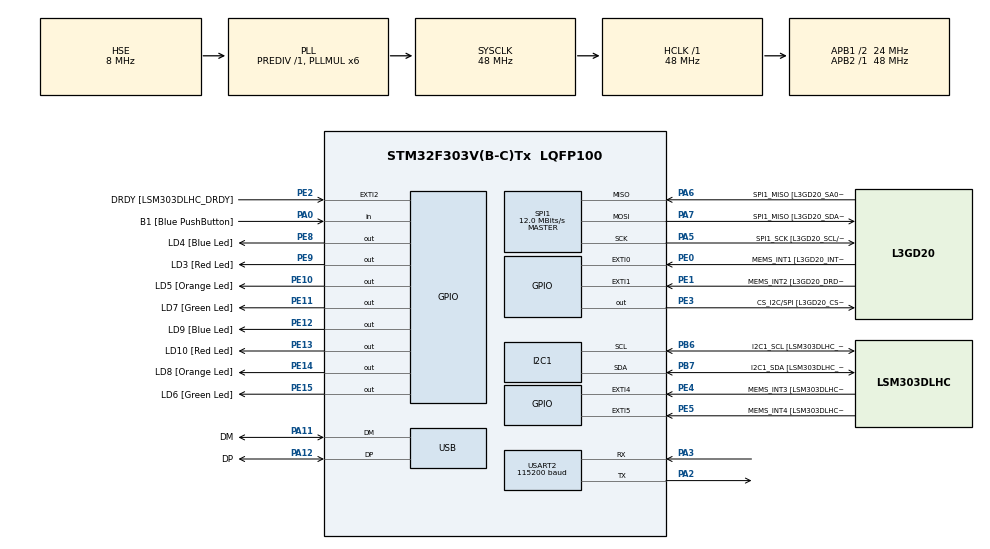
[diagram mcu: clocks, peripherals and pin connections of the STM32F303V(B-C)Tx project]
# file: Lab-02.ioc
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I2C1.Timing=0x00201D2B
I2C1.Timing-I2C=0x2000090E
Mcu.Family=STM32F3
Mcu.Name=STM32F303V(B-C)Tx
Mcu.Package=LQFP100
NVIC.PriorityGroup=NVIC_PRIORITYGROUP_0
PA0.GPIO_Label=B1 [Blue PushButton]
PA0.Signal=GPIO_Input
PA11.GPIO_Label=DM
PA11.Mode=Device
PA11.Signal=USB_DM
PA12.GPIO_Label=DP
PA12.Mode=Device
PA12.Signal=USB_DP
PA13.GPIO_Label=SWDIO
PA13.Mode=Serial_Wire
PA13.Signal=SYS_JTMS-SWDIO
PA14.GPIO_Label=SWCLK
PA14.Mode=Serial_Wire
PA14.Signal=SYS_JTCK-SWCLK
PA2.Mode=Asynchronous
PA2.Signal=USART2_TX
PA3.Mode=Asynchronous
PA3.Signal=USART2_RX
PA5.GPIO_Label=SPI1_SCK [L3GD20_SCL/SPC]
PA5.Mode=Full_Duplex_Master
PA5.Signal=SPI1_SCK
PA6.GPIO_Label=SPI1_MISO [L3GD20_SA0/SDO]
PA6.Mode=Full_Duplex_Master
PA6.Signal=SPI1_MISO
PA7.GPIO_Label=SPI1_MISO [L3GD20_SDA/SDI/SDO]
PA7.Mode=Full_Duplex_Master
PA7.Signal=SPI1_MOSI
PB3.GPIO_Label=SWO
PB3.Signal=SYS_JTDO-TRACESWO
PB6.GPIO_Label=I2C1_SCL [LSM303DLHC_SCL]
PB6.GPIO_Pu=GPIO_PULLUP
PB6.Mode=I2C
PB6.Signal=I2C1_SCL
PB7.GPIO_Label=I2C1_SDA [LSM303DLHC_SDA]
PB7.GPIO_Pu=GPIO_PULLUP
PB7.Mode=I2C
PB7.Signal=I2C1_SDA
PC14-OSC32_IN.GPIO_Label=OSC32_IN
PC14-OSC32_IN.Signal=RCC_OSC32_IN
PC15-OSC32_OUT.GPIO_Label=OSC32_OUT
PC15-OSC32_OUT.Signal=RCC_OSC32_OUT
PE0.GPIO_Label=MEMS_INT1 [L3GD20_INT1]
PE0.GPIO_ModeDefaultEXTI=GPIO_MODE_EVT_RISING
PE0.Signal=GPXTI0
PE1.GPIO_Label=MEMS_INT2 [L3GD20_DRDY/INT2]
PE1.GPIO_ModeDefaultEXTI=GPIO_MODE_EVT_RISING
PE1.Signal=GPXTI1
PE10.GPIO_Label=LD5 [Orange Led]
PE10.Signal=GPIO_Output
PE11.GPIO_Label=LD7 [Green Led]
PE11.Signal=GPIO_Output
PE12.GPIO_Label=LD9 [Blue Led]
PE12.Signal=GPIO_Output
PE13.GPIO_Label=LD10 [Red Led]
PE13.Signal=GPIO_Output
PE14.GPIO_Label=LD8 [Orange Led]
PE14.Signal=GPIO_Output
PE15.GPIO_Label=LD6 [Green Led]
PE15.Signal=GPIO_Output
PE2.GPIO_Label=DRDY [LSM303DLHC_DRDY]
PE2.GPIO_ModeDefaultEXTI=GPIO_MODE_EVT_RISING
PE2.Signal=GPXTI2
PE3.GPIO_Label=CS_I2C/SPI [L3GD20_CS_I2C/SPI]
PE3.Signal=GPIO_Output
PE4.GPIO_Label=MEMS_INT3 [LSM303DLHC_INT1]
PE4.GPIO_ModeDefaultEXTI=GPIO_MODE_EVT_RISING
PE4.Signal=GPXTI4
PE5.GPIO_Label=MEMS_INT4 [LSM303DLHC_INT2]
PE5.GPIO_ModeDefaultEXTI=GPIO_MODE_EVT_RISING
PE5.Signal=GPXTI5
PE8.GPIO_Label=LD4 [Blue Led]
PE8.Signal=GPIO_Output
PE9.GPIO_Label=LD3 [Red Led]
PE9.Signal=GPIO_Output
PF0-OSC_IN.GPIO_Label=OSC_IN
PF0-OSC_IN.Mode=HSE-External-Clock-Source
PF0-OSC_IN.Signal=RCC_OSC_IN
PF1-OSC_OUT.GPIO_Label=OSC_OUT
PF1-OSC_OUT.Signal=RCC_OSC_OUT
ProjectManager.HeapSize=0x200
ProjectManager.StackSize=0x400
ProjectManager.TargetToolchain=CMake
RCC.AHBFreq_Value=48000000
RCC.APB1CLKDivider=RCC_HCLK_DIV2
RCC.APB1Freq_Value=24000000
RCC.APB1TimFreq_Value=48000000
RCC.APB2Freq_Value=48000000
RCC.APB2TimFreq_Value=48000000
RCC.CortexFreq_Value=48000000
RCC.HCLKFreq_Value=48000000
RCC.HSE_VALUE=8000000
RCC.HSI_VALUE=8000000
RCC.LSE_VALUE=32768
RCC.PLLMUL=RCC_PLL_MUL6
RCC.SYSCLKFreq_VALUE=48000000
RCC.SYSCLKSourceVirtual=RCC_SYSCLKSOURCE_PLLCLK
RCC.USBFreq_Value=48000000
SPI1.BaudRatePrescaler=SPI_BAUDRATEPRESCALER_4
SPI1.BaudRatePrescaler-Full_Duplex_Master=SPI_BAUDRATEPRESCALER_2
SPI1.CalculateBaudRate=12.0 MBits/s
SPI1.CalculateBaudRate-Full_Duplex_Master=24.0 MBits/s
SPI1.Direction=SPI_DIRECTION_2LINES
SPI1.Mode=SPI_MODE_MASTER
SPI1.Mode-Full_Duplex_Master=SPI_MODE_MASTER
SPI1.VirtualType=VM_MASTER
USART2.BaudRate=115200
USART2.VirtualMode-Asynchronous=VM_ASYNC
board=STM32F3DISCOVERY

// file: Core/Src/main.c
/* USER CODE BEGIN Header */
/**
  ******************************************************************************
  * @file           : main.c
  * @brief          : Main program body
  ******************************************************************************
  * @attention
  *
  * Copyright (c) 2026 STMicroelectronics.
  * All rights reserved.
  *
  * This software is licensed under terms that can be found in the LICENSE file
  * in the root directory of this software component.
  * If no LICENSE file comes with this software, it is provided AS-IS.
  *
  ******************************************************************************
  */
/* USER CODE END Header */
#include "main.h"
#include <math.h>
#include <string.h>
#include "stdarg.h"
#include "stdio.h"
#include "stm32f3xx_hal.h"
#include <stdbool.h>

I2C_HandleTypeDef hi2c1;

SPI_HandleTypeDef hspi1;

UART_HandleTypeDef huart2;

PCD_HandleTypeDef hpcd_USB_FS;

void SystemClock_Config(void);
static void MX_GPIO_Init(void);
static void MX_I2C1_Init(void);
static void MX_SPI1_Init(void);
static void MX_USART2_UART_Init(void);
static void MX_USB_PCD_Init(void);

void myprintf(const char *fmt, ...)
{
  char buffer[128];
  va_list args;
  va_start(args, fmt);
  int n = vsnprintf(buffer, sizeof(buffer), fmt, args);
  va_end(args);

  if (n > 0) {

    HAL_UART_Transmit(&huart2, (uint8_t*)buffer, n, HAL_MAX_DELAY);
  }
}
void print_matrix_int(int rows, int cols, const int *m)
{
  for (int i = 0; i < rows; ++i) {
    for (int j = 0; j < cols; ++j) {
      myprintf("%d ", m[i*cols + j]);
    }
    myprintf("\r\n");
  }
}
bool isArmstrong(int num)
{
    int originalNum, remainder, result = 0;
    originalNum = num;

    while (originalNum != 0) {
        remainder = originalNum % 10;
        result += pow(remainder, 3);
        originalNum /= 10;
    }

    return (result == num);
}
/* USER CODE BEGIN 0 */
// No changes here
/* USER CODE END 0 */
int main(void)
{
  /* USER CODE BEGIN 1 */
  // --- TASK 0: Math Variables ---
  int a = 4;
  int b = 6;
  int c = (a * a) + (2 * a * b) + (b * b); // a^2 + 2ab + b^2
  int d = (a + b) * (a + b);               // (a + b)^2

  // --- TASK 5: Matrix Data & Calculation ---
  int arr[4] = {1, 2, 3, 4};               // Matrix A
  int arr2[4] = {5, 6, 7, 8};              // Matrix B
  int result[4];                           // Result Matrix

  for (int i = 0; i < 2; i++) {
    for (int j = 0; j < 2; j++) {
      result[i * 2 + j] = 0;
      for (int k = 0; k < 2; k++) {
        result[i * 2 + j] += arr[i * 2 + k] * arr2[k * 2 + j];
      }
    }
  }
  /* USER CODE END 1 */

  /* MCU Configuration --------------------------------------------------------*/
  HAL_Init();
  SystemClock_Config();

  /* Initialize all configured peripherals */
  MX_GPIO_Init();
  MX_I2C1_Init();
  MX_SPI1_Init();
  MX_USART2_UART_Init();
  MX_USB_PCD_Init();

  /* USER CODE BEGIN 2 */
  // --- TASK 3:--------------------------------------------
  char str[] = "Microcontrollers";
  char encrypted[50];
  char decrypted[50];
  int code = 10283; // Student ID
  int idx;
  for (idx = 0; str[idx] != '\0'; idx++) {
    encrypted[idx] = str[idx] + (code % 256);
  }
  encrypted[idx] = '\0';

  for (idx = 0; encrypted[idx] != '\0'; idx++) {
    decrypted[idx] = encrypted[idx] - (code % 256);
  }
  decrypted[idx] = '\0';
  /* USER CODE END 2 */

  /* Infinite loop */
  while (1)
  {

    /* USER CODE BEGIN 3 */
    // Separator for clarity in terminal

    // --- TASK 2: Printing Simple Variables ---
    // int x = 42;
    // float y = 3.14;
    // myprintf("Task 2: x = %d, y = %d\r\n", x, y);
    // HAL_Delay(1000);

    // // --- TASK 3: Comparing Math Results ---
    // myprintf("Task 3: (a+b)^2 = %d, a^2+2ab+b^2 = %d\r\n", d, c);
    // HAL_Delay(1000);

    // --- TASK 4: Encryption/Decryption Output ---
    // myprintf("Original: %s\r\n", str);
    // HAL_Delay(1000);
    // myprintf("Encrypted: %s\r\n", encrypted);
    // HAL_Delay(1000);
    // myprintf("Decrypted: %s\r\n", decrypted);
    // HAL_Delay(1000);

    // --- TASK 5: Matrix Results ---

    myprintf("Matrix A:\r\n");
    HAL_Delay(1000);
    print_matrix_int(2, 2, arr);
    HAL_Delay(1000);
    myprintf("Matrix B:\r\n");
     HAL_Delay(1000);
    print_matrix_int(2, 2, arr2);
   HAL_Delay(1000);
    myprintf("Result of A x B:\r\n");
     HAL_Delay(1000);
    print_matrix_int(2, 2, result);
     HAL_Delay(1000);

    // --- TASK 6: Armstrong Number Check ---
  //   myprintf("Armstrong Numbers between 100 and 999:\r\n");
  //   for (int i=100;i<1000;i++) {
  //       if (isArmstrong(i)) {
  //           myprintf("=%d\r\n", i);
  //           HAL_Delay(1000);
  //       }
  //   }
  // }
  /* USER CODE END 3 */
}}
void SystemClock_Config(void)
{
  RCC_OscInitTypeDef RCC_OscInitStruct = {0};
  RCC_ClkInitTypeDef RCC_ClkInitStruct = {0};
  RCC_PeriphCLKInitTypeDef PeriphClkInit = {0};

  /** Initializes the RCC Oscillators according to the specified parameters
  * in the RCC_OscInitTypeDef structure.
  */
  RCC_OscInitStruct.OscillatorType = RCC_OSCILLATORTYPE_HSI|RCC_OSCILLATORTYPE_HSE;
  RCC_OscInitStruct.HSEState = RCC_HSE_BYPASS;
  RCC_OscInitStruct.HSEPredivValue = RCC_HSE_PREDIV_DIV1;
  RCC_OscInitStruct.HSIState = RCC_HSI_ON;
  RCC_OscInitStruct.HSICalibrationValue = RCC_HSICALIBRATION_DEFAULT;
  RCC_OscInitStruct.PLL.PLLState = RCC_PLL_ON;
  RCC_OscInitStruct.PLL.PLLSource = RCC_PLLSOURCE_HSE;
  RCC_OscInitStruct.PLL.PLLMUL = RCC_PLL_MUL6;
  if (HAL_RCC_OscConfig(&RCC_OscInitStruct) != HAL_OK)
  {
    Error_Handler();
  }

  /** Initializes the CPU, AHB and APB buses clocks
  */
  RCC_ClkInitStruct.ClockType = RCC_CLOCKTYPE_HCLK|RCC_CLOCKTYPE_SYSCLK
                              |RCC_CLOCKTYPE_PCLK1|RCC_CLOCKTYPE_PCLK2;
  RCC_ClkInitStruct.SYSCLKSource = RCC_SYSCLKSOURCE_PLLCLK;
  RCC_ClkInitStruct.AHBCLKDivider = RCC_SYSCLK_DIV1;
  RCC_ClkInitStruct.APB1CLKDivider = RCC_HCLK_DIV2;
  RCC_ClkInitStruct.APB2CLKDivider = RCC_HCLK_DIV1;

  if (HAL_RCC_ClockConfig(&RCC_ClkInitStruct, FLASH_LATENCY_1) != HAL_OK)
  {
    Error_Handler();
  }
  PeriphClkInit.PeriphClockSelection = RCC_PERIPHCLK_USB|RCC_PERIPHCLK_USART2
                              |RCC_PERIPHCLK_I2C1;
  PeriphClkInit.Usart2ClockSelection = RCC_USART2CLKSOURCE_PCLK1;
  PeriphClkInit.I2c1ClockSelection = RCC_I2C1CLKSOURCE_HSI;
  PeriphClkInit.USBClockSelection = RCC_USBCLKSOURCE_PLL;
  if (HAL_RCCEx_PeriphCLKConfig(&PeriphClkInit) != HAL_OK)
  {
    Error_Handler();
  }
}

static void MX_I2C1_Init(void)
{

  hi2c1.Instance = I2C1;
  hi2c1.Init.Timing = 0x00201D2B;
  hi2c1.Init.OwnAddress1 = 0;
  hi2c1.Init.AddressingMode = I2C_ADDRESSINGMODE_7BIT;
  hi2c1.Init.DualAddressMode = I2C_DUALADDRESS_DISABLE;
  hi2c1.Init.OwnAddress2 = 0;
  hi2c1.Init.OwnAddress2Masks = I2C_OA2_NOMASK;
  hi2c1.Init.GeneralCallMode = I2C_GENERALCALL_DISABLE;
  hi2c1.Init.NoStretchMode = I2C_NOSTRETCH_DISABLE;
  if (HAL_I2C_Init(&hi2c1) != HAL_OK)
  {
    Error_Handler();
  }

  /** Configure Analogue filter
  */
  if (HAL_I2CEx_ConfigAnalogFilter(&hi2c1, I2C_ANALOGFILTER_ENABLE) != HAL_OK)
  {
    Error_Handler();
  }

  /** Configure Digital filter
  */
  if (HAL_I2CEx_ConfigDigitalFilter(&hi2c1, 0) != HAL_OK)
  {
    Error_Handler();
  }

}

static void MX_SPI1_Init(void)
{

  /* SPI1 parameter configuration*/
  hspi1.Instance = SPI1;
  hspi1.Init.Mode = SPI_MODE_MASTER;
  hspi1.Init.Direction = SPI_DIRECTION_2LINES;
  hspi1.Init.DataSize = SPI_DATASIZE_4BIT;
  hspi1.Init.CLKPolarity = SPI_POLARITY_LOW;
  hspi1.Init.CLKPhase = SPI_PHASE_1EDGE;
  hspi1.Init.NSS = SPI_NSS_SOFT;
  hspi1.Init.BaudRatePrescaler = SPI_BAUDRATEPRESCALER_4;
  hspi1.Init.FirstBit = SPI_FIRSTBIT_MSB;
  hspi1.Init.TIMode = SPI_TIMODE_DISABLE;
  hspi1.Init.CRCCalculation = SPI_CRCCALCULATION_DISABLE;
  hspi1.Init.CRCPolynomial = 7;
  hspi1.Init.CRCLength = SPI_CRC_LENGTH_DATASIZE;
  hspi1.Init.NSSPMode = SPI_NSS_PULSE_ENABLE;
  if (HAL_SPI_Init(&hspi1) != HAL_OK)
  {
    Error_Handler();
  }

}

static void MX_USART2_UART_Init(void)
{

  huart2.Instance = USART2;
  huart2.Init.BaudRate = 115200;
  huart2.Init.WordLength = UART_WORDLENGTH_8B;
  huart2.Init.StopBits = UART_STOPBITS_1;
  huart2.Init.Parity = UART_PARITY_NONE;
  huart2.Init.Mode = UART_MODE_TX_RX;
  huart2.Init.HwFlowCtl = UART_HWCONTROL_NONE;
  huart2.Init.OverSampling = UART_OVERSAMPLING_16;
  huart2.Init.OneBitSampling = UART_ONE_BIT_SAMPLE_DISABLE;
  huart2.AdvancedInit.AdvFeatureInit = UART_ADVFEATURE_NO_INIT;
  if (HAL_UART_Init(&huart2) != HAL_OK)
  {
    Error_Handler();
  }

}

static void MX_USB_PCD_Init(void)
{

  hpcd_USB_FS.Instance = USB;
  hpcd_USB_FS.Init.dev_endpoints = 8;
  hpcd_USB_FS.Init.speed = PCD_SPEED_FULL;
  hpcd_USB_FS.Init.phy_itface = PCD_PHY_EMBEDDED;
  hpcd_USB_FS.Init.low_power_enable = DISABLE;
  hpcd_USB_FS.Init.battery_charging_enable = DISABLE;
  if (HAL_PCD_Init(&hpcd_USB_FS) != HAL_OK)
  {
    Error_Handler();
  }

}

static void MX_GPIO_Init(void)
{
  GPIO_InitTypeDef GPIO_InitStruct = {0};

  /* GPIO Ports Clock Enable */
  __HAL_RCC_GPIOE_CLK_ENABLE();
  __HAL_RCC_GPIOC_CLK_ENABLE();
  __HAL_RCC_GPIOF_CLK_ENABLE();
  __HAL_RCC_GPIOA_CLK_ENABLE();
  __HAL_RCC_GPIOB_CLK_ENABLE();

  /*Configure GPIO pin Output Level */
  HAL_GPIO_WritePin(GPIOE, CS_I2C_SPI_Pin|LD4_Pin|LD3_Pin|LD5_Pin
                          |LD7_Pin|LD9_Pin|LD10_Pin|LD8_Pin
                          |LD6_Pin, GPIO_PIN_RESET);

  /*Configure GPIO pins : DRDY_Pin MEMS_INT3_Pin MEMS_INT4_Pin MEMS_INT1_Pin
                           MEMS_INT2_Pin */
  GPIO_InitStruct.Pin = DRDY_Pin|MEMS_INT3_Pin|MEMS_INT4_Pin|MEMS_INT1_Pin
                          |MEMS_INT2_Pin;
  GPIO_InitStruct.Mode = GPIO_MODE_EVT_RISING;
  GPIO_InitStruct.Pull = GPIO_NOPULL;
  HAL_GPIO_Init(GPIOE, &GPIO_InitStruct);

  /*Configure GPIO pins : CS_I2C_SPI_Pin LD4_Pin LD3_Pin LD5_Pin
                           LD7_Pin LD9_Pin LD10_Pin LD8_Pin
                           LD6_Pin */
  GPIO_InitStruct.Pin = CS_I2C_SPI_Pin|LD4_Pin|LD3_Pin|LD5_Pin
                          |LD7_Pin|LD9_Pin|LD10_Pin|LD8_Pin
                          |LD6_Pin;
  GPIO_InitStruct.Mode = GPIO_MODE_OUTPUT_PP;
  GPIO_InitStruct.Pull = GPIO_NOPULL;
  GPIO_InitStruct.Speed = GPIO_SPEED_FREQ_LOW;
  HAL_GPIO_Init(GPIOE, &GPIO_InitStruct);

  /*Configure GPIO pin : B1_Pin */
  GPIO_InitStruct.Pin = B1_Pin;
  GPIO_InitStruct.Mode = GPIO_MODE_INPUT;
  GPIO_InitStruct.Pull = GPIO_NOPULL;
  HAL_GPIO_Init(B1_GPIO_Port, &GPIO_InitStruct);

}

void Error_Handler(void)
{
  __disable_irq();
  while (1)
  {
  }
}
